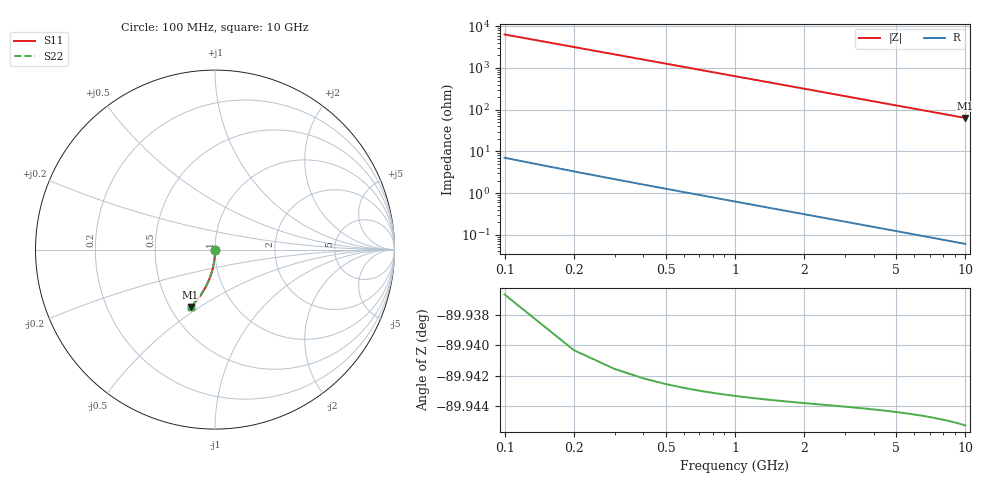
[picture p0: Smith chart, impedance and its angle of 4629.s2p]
# Hz S RI R 50.00
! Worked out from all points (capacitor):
!   100 points, 100 MHz to 10 GHz, reference 50 ohm
!   read as one part in shunt: C = 250 fF near 100 MHz
!   lowest |Z| = 63.5 ohm at 10 GHz (marker M1)
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1e8  4.84e-05 -0.00369  0.9999 -0.00415  0.9999 -0.00415  4.84e-05 -0.00369
2e8  -9.5e-07 -0.00739  0.9999 -0.0083  0.9999 -0.0083  -9.5e-07 -0.00739
3e8  -8.11e-05 -0.0111  0.9998 -0.0125  0.9998 -0.0125  -8.11e-05 -0.0111
4e8  -0.000192 -0.0148  0.9997 -0.0166  0.9997 -0.0166  -0.000192 -0.0148
5e8  -0.000333 -0.0185  0.9995 -0.0208  0.9995 -0.0208  -0.000333 -0.0185
6e8  -0.000506 -0.0221  0.9994 -0.0249  0.9994 -0.0249  -0.000506 -0.0221
7e8  -0.000708 -0.0258  0.9991 -0.029  0.9991 -0.029  -0.000708 -0.0258
8e8  -0.000942 -0.0295  0.9989 -0.0332  0.9989 -0.0332  -0.000942 -0.0295
9e8  -0.00121 -0.0332  0.9986 -0.0373  0.9986 -0.0373  -0.00121 -0.0332
1.1e9  -0.00183 -0.0406  0.998 -0.0456  0.998 -0.0456  -0.00183 -0.0406
1.4e9  -0.00298 -0.0516  0.9969 -0.058  0.9969 -0.058  -0.00298 -0.0516
1.8e9  -0.00495 -0.0662  0.9949 -0.0744  0.9949 -0.0744  -0.00495 -0.0662
2.1e9  -0.00674 -0.0771  0.9931 -0.0867  0.9931 -0.0867  -0.00674 -0.0771
2.5e9  -0.00955 -0.0915  0.9902 -0.103  0.9902 -0.103  -0.00955 -0.0915
2.9e9  -0.0128 -0.1059  0.9869 -0.1192  0.9869 -0.1192  -0.0128 -0.1059
3.4e9  -0.0176 -0.1236  0.9822 -0.1392  0.9822 -0.1392  -0.0176 -0.1236
4.2e9  -0.0266 -0.1513  0.9731 -0.1706  0.9731 -0.1706  -0.0266 -0.1513
5.1e9  -0.0388 -0.1815  0.9607 -0.205  0.9607 -0.205  -0.0388 -0.1815
5.9e9  -0.0514 -0.2072  0.9481 -0.2345  0.9481 -0.2345  -0.0514 -0.2072
6.7e9  -0.0654 -0.2319  0.9339 -0.2629  0.9339 -0.2629  -0.0654 -0.2319
8.4e9  -0.0996 -0.28  0.8995 -0.319  0.8995 -0.319  -0.0996 -0.28
1e10  -0.136 -0.3196  0.8628 -0.3663  0.8628 -0.3663  -0.136 -0.3196
